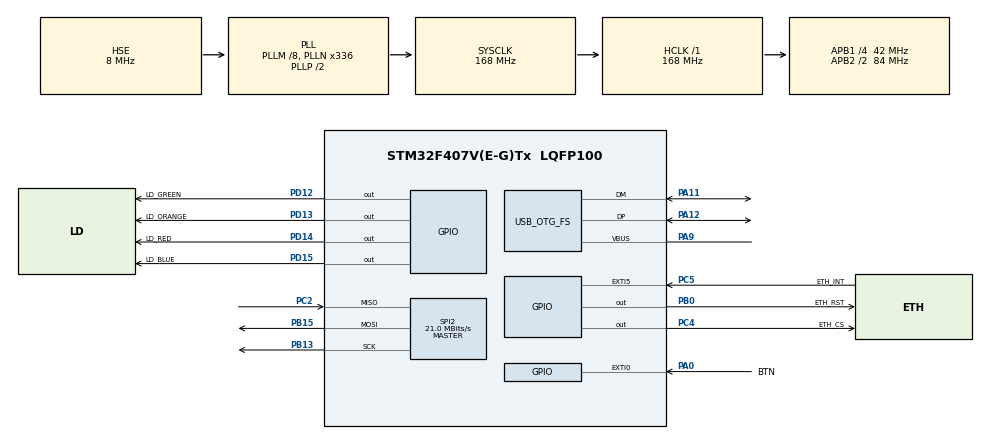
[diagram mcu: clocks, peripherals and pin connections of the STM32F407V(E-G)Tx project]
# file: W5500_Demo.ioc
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Dma.Request0=SPI2_RX
Dma.Request1=SPI2_TX
Dma.SPI2_RX.0.Direction=DMA_PERIPH_TO_MEMORY
Dma.SPI2_RX.0.FIFOMode=DMA_FIFOMODE_DISABLE
Dma.SPI2_RX.0.Instance=DMA1_Stream3
Dma.SPI2_RX.0.MemDataAlignment=DMA_MDATAALIGN_BYTE
Dma.SPI2_RX.0.MemInc=DMA_MINC_ENABLE
Dma.SPI2_RX.0.Mode=DMA_NORMAL
Dma.SPI2_RX.0.PeriphDataAlignment=DMA_PDATAALIGN_BYTE
Dma.SPI2_RX.0.PeriphInc=DMA_PINC_DISABLE
Dma.SPI2_RX.0.Priority=DMA_PRIORITY_LOW
Dma.SPI2_TX.1.Direction=DMA_MEMORY_TO_PERIPH
Dma.SPI2_TX.1.FIFOMode=DMA_FIFOMODE_DISABLE
Dma.SPI2_TX.1.Instance=DMA1_Stream4
Dma.SPI2_TX.1.MemDataAlignment=DMA_MDATAALIGN_BYTE
Dma.SPI2_TX.1.MemInc=DMA_MINC_ENABLE
Dma.SPI2_TX.1.Mode=DMA_NORMAL
Dma.SPI2_TX.1.PeriphDataAlignment=DMA_PDATAALIGN_BYTE
Dma.SPI2_TX.1.PeriphInc=DMA_PINC_DISABLE
Dma.SPI2_TX.1.Priority=DMA_PRIORITY_LOW
Mcu.Family=STM32F4
Mcu.Name=STM32F407V(E-G)Tx
Mcu.Package=LQFP100
NVIC.DMA1_Stream3_IRQn=true\:0\:0\:false\:false\:true\:false\:true\:true
NVIC.DMA1_Stream4_IRQn=true\:0\:0\:false\:false\:true\:false\:true\:true
NVIC.EXTI9_5_IRQn=true\:0\:1\:false\:false\:true\:true\:true\:true
NVIC.OTG_FS_IRQn=true\:0\:0\:false\:false\:true\:false\:true\:true
NVIC.PriorityGroup=NVIC_PRIORITYGROUP_0
NVIC.SPI2_IRQn=true\:0\:0\:false\:false\:true\:true\:true\:true
PA0-WKUP.GPIO_Label=BTN
PA0-WKUP.GPIO_ModeDefaultEXTI=GPIO_MODE_EVT_RISING
PA0-WKUP.GPIO_PuPd=GPIO_NOPULL
PA0-WKUP.Signal=GPXTI0
PA11.Mode=Device_Only
PA11.Signal=USB_OTG_FS_DM
PA12.Mode=Device_Only
PA12.Signal=USB_OTG_FS_DP
PA9.Mode=Activate_VBUS
PA9.Signal=USB_OTG_FS_VBUS
PB0.GPIO_Label=ETH_RST
PB0.Signal=GPIO_Output
PB13.Mode=Full_Duplex_Master
PB13.Signal=SPI2_SCK
PB15.Mode=Full_Duplex_Master
PB15.Signal=SPI2_MOSI
PC2.Mode=Full_Duplex_Master
PC2.Signal=SPI2_MISO
PC4.GPIO_Label=ETH_CS
PC4.PinState=GPIO_PIN_SET
PC4.Signal=GPIO_Output
PC5.GPIO_Label=ETH_INT
PC5.GPIO_ModeDefaultEXTI=GPIO_MODE_IT_FALLING
PC5.Signal=GPXTI5
PD12.GPIO_Label=LD_GREEN
PD12.GPIO_PuPd=GPIO_NOPULL
PD12.GPIO_Speed=GPIO_SPEED_FREQ_LOW
PD12.Signal=GPIO_Output
PD13.GPIO_Label=LD_ORANGE
PD13.GPIO_PuPd=GPIO_NOPULL
PD13.GPIO_Speed=GPIO_SPEED_FREQ_LOW
PD13.Signal=GPIO_Output
PD14.GPIO_Label=LD_RED
PD14.GPIO_PuPd=GPIO_NOPULL
PD14.GPIO_Speed=GPIO_SPEED_FREQ_LOW
PD14.Signal=GPIO_Output
PD15.GPIO_Label=LD_BLUE
PD15.GPIO_PuPd=GPIO_NOPULL
PD15.GPIO_Speed=GPIO_SPEED_FREQ_LOW
PD15.Signal=GPIO_Output
PH0-OSC_IN.GPIO_Label=PH0-OSC_IN
PH0-OSC_IN.Mode=HSE-External-Oscillator
PH0-OSC_IN.Signal=RCC_OSC_IN
PH1-OSC_OUT.GPIO_Label=PH1-OSC_OUT
PH1-OSC_OUT.Mode=HSE-External-Oscillator
PH1-OSC_OUT.Signal=RCC_OSC_OUT
ProjectManager.HeapSize=0x200
ProjectManager.StackSize=0x400
ProjectManager.TargetToolchain=STM32CubeIDE
RCC.48MHZClocksFreq_Value=48000000
RCC.AHBFreq_Value=168000000
RCC.APB1CLKDivider=RCC_HCLK_DIV4
RCC.APB1Freq_Value=42000000
RCC.APB1TimFreq_Value=84000000
RCC.APB2CLKDivider=RCC_HCLK_DIV2
RCC.APB2Freq_Value=84000000
RCC.APB2TimFreq_Value=168000000
RCC.CortexFreq_Value=168000000
RCC.HCLKFreq_Value=168000000
RCC.HSE_VALUE=8000000
RCC.HSI_VALUE=16000000
RCC.LSE_VALUE=32768
RCC.PLLM=8
RCC.PLLN=336
RCC.PLLQ=7
RCC.SYSCLKFreq_VALUE=168000000
RCC.SYSCLKSource=RCC_SYSCLKSOURCE_PLLCLK
RCC.VCOOutputFreq_Value=336000000
SPI2.BaudRatePrescaler=SPI_BAUDRATEPRESCALER_2
SPI2.CalculateBaudRate=21.0 MBits/s
SPI2.Direction=SPI_DIRECTION_2LINES
SPI2.Mode=SPI_MODE_MASTER
SPI2.VirtualType=VM_MASTER
USB_DEVICE.CLASS_NAME_FS=CDC
USB_DEVICE.VirtualMode-CDC_FS=Cdc
USB_DEVICE.VirtualModeFS=Cdc_FS
USB_OTG_FS.VirtualMode=Device_Only
VP_USB_DEVICE_VS_USB_DEVICE_CDC_FS.Mode=CDC_FS
board=STM32F407G-DISC1

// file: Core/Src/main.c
/* USER CODE BEGIN Header */
/**
 ******************************************************************************
 * @file           : main.c
 * @brief          : Main program body
 ******************************************************************************
 * @attention
 *
 * Copyright (c) 2024 STMicroelectronics.
 * All rights reserved.
 *
 * This software is licensed under terms that can be found in the LICENSE file
 * in the root directory of this software component.
 * If no LICENSE file comes with this software, it is provided AS-IS.
 *
 ******************************************************************************
 */
/* USER CODE END Header */
#include "main.h"
#include "usb_device.h"

/* USER CODE BEGIN Includes */
#include "usbd_cdc_if.h"
#include "socket.h"
#include "w5500.h"
#include "wizchip_conf.h"
#include "loopback.h"
#include "ton.h"
#include "soft_timer.h"
#include "socket_utils.h"
#include "string.h"
#include "retarget.h"
#include "steady_clock.h"
#include "macro.h"
#include "edge_detection.h"

#include "../../Drivers/Internet/inc/dhcp.h"
#include "../../Drivers/Internet/inc/dns.h"
/* USER CODE END Includes */

/* USER CODE BEGIN PTD */

enum
{
   TON_0_DURATION = 1000,
   TON_1_DURATION = 1000,
};

enum
{
   TON_0 = 0,
   TON_1,
   TON_END,
};

enum
{
   ED_0 = 0,
   ED_1,
   ED_2,
   ED_3,
   ED_END,
};

enum
{
   TIMER_0_DURATION = 50,
};

enum
{
   TIMER_0 = 0,
   TIMER_END,
};

/* USER CODE END PTD */

SPI_HandleTypeDef hspi2;
DMA_HandleTypeDef hdma_spi2_rx;
DMA_HandleTypeDef hdma_spi2_tx;

/* USER CODE BEGIN PV */

typedef struct
{
   wiz_NetInfo net_info;
   uint16_t port;
   uint16_t destport;
   uint8_t sn;
   uint8_t destip[4];
   uint8_t dhcp_buf[1024];
   uint8_t dns_buf[1024];
   uint8_t domain_ip[4];
} app_data_t;

typedef enum
{
   SOCKET_INFO = 0,
   SOCKET_DHCP_ONGOING,
   SOCKET_CLOSED,
   SOCKET_INIT,
   SOCKET_WAIT_CONNECTED,
   SOCKET_CONNECTED,
   SOCKET_TIMEOUT,
   SOCKET_TIMEOUT_CON,
   SOCKET_TIMEOUT_DISCON,
}socket_op_t;

typedef struct
{
   uint32_t socket_cannot_open: 1;
   uint32_t socket_opened: 1;
   uint32_t socket_cannot_connect: 1;
   uint32_t socket_connected: 1;
}eth_handler_info_t;

app_data_t app_net_data =
{
  .net_info =
  {
      .mac = {0x00, 0x08, 0xdc, 0xab, 0xcd, 0xef},// Mac address
      .ip = {192, 168, 1, 99},// IP address
      .sn = {255, 255, 255, 0},// Subnet mask
      .gw = {192, 168, 1, 1},// Gateway address
      .dhcp = NETINFO_DHCP,
   },
   .port = 8080,
   .sn = 0,
   .destport = 50000,
   .destip = {192, 168, 1, 43},
};

eth_handler_info_t eth_handler_info;
socket_op_t op = 0;
int8_t sockret = 0;
int8_t connectret = 0;

static soft_timer_t timer_obj[TIMER_END];
static ton_t ton_obj[TON_END];
static edge_detection_t ed_obj[ED_END];

volatile static uint8_t spi_rx_done;
volatile static uint8_t spi_tx_done;
/* USER CODE END PV */

void SystemClock_Config(void);
static void MX_GPIO_Init(void);
static void MX_DMA_Init(void);
static void MX_SPI2_Init(void);
/* USER CODE BEGIN PFP */
static void printInfo(void);

static void doSendOk(uint8_t sn, uint16_t len);
static void doTimeout(uint8_t sn, uint8_t discon);
static void doRecv(uint8_t sn, uint16_t len);
static void doDiscon(uint8_t sn);
static void doCon(uint8_t sn);
static void doEthfault(uint8_t sn);
static void doLinkOff(void);
static void doConflict(void);
static void doUnreach(void);

static uint8_t DHCP_Perform(void);
static void DNS_Perform(void);

static void periodicTimer(void);

static void cs_sel(void);
static void cs_desel(void);
static void spi_rb_burst(uint8_t *rbuf, uint16_t len);
static void spi_wb_burst(uint8_t *tbuf, uint16_t len);
static void spi_rb_burst_dma(uint8_t *rbuf, uint16_t len);
static void spi_wb_burst_dma(uint8_t *tbuf, uint16_t len);

static void ethHandler(void);
static void ethHandlerInfo(void);

uint8_t buf[16384] =
{0};
uint8_t cmd[15] ={0};
uint32_t first,second,result;
/* USER CODE END PFP */

int main(void)
{

   /* MCU Configuration--------------------------------------------------------*/

   /* Reset of all peripherals, Initializes the Flash interface and the Systick. */
   HAL_Init();

   /* Configure the system clock */
   SystemClock_Config();

   /* Initialize all configured peripherals */
   MX_GPIO_Init();
   MX_DMA_Init();
   MX_SPI2_Init();
   MX_USB_DEVICE_Init();
   /* USER CODE BEGIN 2 */

// RESET HIGH(active low 500 us)
   HAL_GPIO_WritePin(ETH_RST_GPIO_Port, ETH_RST_Pin, GPIO_PIN_RESET);
   HAL_Delay(10);
   HAL_GPIO_WritePin(ETH_RST_GPIO_Port, ETH_RST_Pin, GPIO_PIN_SET);
   HAL_Delay(10);
   reg_wizchip_cs_cbfunc(cs_sel, cs_desel);
   reg_wizchip_spiburst_cbfunc(spi_rb_burst_dma, spi_wb_burst_dma);

// ethInitDefault ilk çağrılmalı
   ethInitDefault(&app_net_data.net_info);
   setEthIntCallbacks(doConflict, doUnreach, NULL, NULL);
   setSockIntCallbacks(app_net_data.sn, doSendOk, doTimeout, doRecv, doDiscon, doCon);
   setSockIntErrCallbacks(app_net_data.sn, doEthfault);
   setEthIntErrCallbacks(doLinkOff);
   reg_dhcp_cbfunc(NULL, NULL, NULL);

   DHCP_init(app_net_data.sn, app_net_data.dhcp_buf);

   timerSet(&timer_obj[TIMER_0], TIMER_0_DURATION, periodicTimer);

   while (!scan("%s", cmd));
   print("%s\n", cmd);
   CLEAR_STRUCT(cmd);

   print("CHIP-VERSION: %d\n"
         "INTLEVEL: %d\n"
         "IMR: %X\n"
         "SIMR: %X\n"
         "RTR: %d\n"
         "RCR: %d\n"
         "Sn_IMR: %X\n"
         "TX Buffer: %d kb\n"
         "RX Buffer: %d kb\n"
         "Link Status: %s\n", getVERSIONR(), getINTLEVEL(), getIMR(), getSIMR(), getRTR(), getRCR(), getSn_IMR(0), getSn_TXBUF_SIZE(0),
         getSn_RXBUF_SIZE(0),
         getPHYCFGR() & PHYCFGR_LNK_ON ? "ON" : "OFF");

   timerStart(&timer_obj[TIMER_0]);

   steadyClockEnable();
   //print("\n=====DHCP-DNS Demo=====\n");
   //printInfo();
   //DHCP_Perform();
   //DNS_Perform();
   //printInfo();

//   print("Google ip:  %d.%d.%d.%d\r\n",
//         app_net_data.domain_ip[0],
//         app_net_data.domain_ip[1],
//         app_net_data.domain_ip[2],
//         app_net_data.domain_ip[3]);

   /* USER CODE END 2 */

   /* Infinite loop */
   /* USER CODE BEGIN WHILE */

   while (1)
   {
      sockDataHandler(app_net_data.sn);
      ethHandler();
      ethHandlerInfo();
      timerCheck(&timer_obj[TIMER_0], HAL_GetTick());

//
//      if(*cmd)
//         CLEAR_STRUCT(cmd);
//
//      getline((char*)cmd);
//
//      if(!strcmp("socket", (char*)cmd))
//      {
//         first = getusec();
//         int8_t sockret;
//         if((sockret = socket(app_net_data.sn, Sn_MR_TCP, app_net_data.port, 0x00)) != app_net_data.sn)
//         {
//            print("socket %d cannot open\r\n"
//                  "sockret: %d\n", app_net_data.sn, sockret);
//         }
//         second = getusec();
//         print("socket duration: %d\n",second - first);
//         enableKeepAliveAuto(app_net_data.sn, 2);
//         print("Socket %d opened\r\n", app_net_data.sn);
//
//      }
//      else if(!strcmp("listen", (char*)cmd))
//      {
//         first = getusec();
//         if(listen(app_net_data.sn) != SOCK_OK)
//         {
//            print("socket %d cannot listen\n", app_net_data.sn);
//         }
//         second = getusec();
//         print("listen duration: %d\n",second - first);
//         print("Listen: Socket [%d], Port [%d]\r\n", app_net_data.sn, app_net_data.port);
//      }
//      else if(!strcmp("connect", (char*)cmd))
//      {
//         print("Socket %d try to connect to the %d.%d.%d.%d : %d\n", app_net_data.sn, app_net_data.destip[0], app_net_data.destip[1],
//               app_net_data.destip[2], app_net_data.destip[3], app_net_data.destport);
//
//         int8_t ret = 0;
//         first = getusec();
//         if((ret = connect(app_net_data.sn, app_net_data.destip, app_net_data.destport)) != SOCK_OK)
//            print("connection failed: %d\n", ret);
//         second = getusec();
//         print("connect duration: %d\n", second - first);
//      }
//      else if(!strcmp("disconnect", (char*)cmd))
//      {
//         first = getusec();
//         if(disconnect(app_net_data.sn) != SOCK_OK)
//         {
//            print("cannot disconnect properly!\n");
//         }
//         second = getusec();
//         print("disconnect duration: %d\n", second - first);
//      }
//      else if(!strcmp("send", (char*)cmd))
//      {
//         first = getusec();
//         if(send(0, (uint8_t*)"bir yazi\n", 9) < 0)
//         {
//            print("cannot send!\n");
//         }
//         second = getusec();
//         print("send duration: %d\n", second - first);
//      }
//      else if(!strcmp("16k", (char*)cmd))
//      {
//         send(0, (uint8_t*)"16k", 3);
//      }
//      else if(!strcmp("close", (char*)cmd))
//      {
//         send(0, (uint8_t*)"close", 5);
//      }

      /* USER CODE END WHILE */

   }
}

static void ethHandler(void)
{
   static uint8_t i = 0;
   enum{RETRY = 5};

   switch (op)
   {
   case SOCKET_INFO:
      if(!isClosed(app_net_data.sn))
         close(app_net_data.sn);

      eth_handler_info.socket_opened = 0;
      eth_handler_info.socket_cannot_open = 0;
      eth_handler_info.socket_cannot_connect = 0;
      eth_handler_info.socket_connected = 0;

      print("CHIP-VERSION: %d\n"
               "INTLEVEL: %d\n"
               "IMR: %X\n"
               "SIMR: %X\n"
               "RTR: %d\n"
               "RCR: %d\n"
               "Sn_IMR: %X\n"
               "TX Buffer: %d kb\n"
               "RX Buffer: %d kb\n"
               "Link Status: %s\n\n",
               getVERSIONR(),
               getINTLEVEL(),
               getIMR(),
               getSIMR(),
               getRTR(),
               getRCR(),
               getSn_IMR(0),
               getSn_TXBUF_SIZE(0),
               getSn_RXBUF_SIZE(0),
               getPHYCFGR() & PHYCFGR_LNK_ON ? "ON" : "OFF");

      if(getVERSIONR() == 4)
         op = SOCKET_DHCP_ONGOING;

      i = 0;
      break;

   case SOCKET_DHCP_ONGOING:
      if(DHCP_Perform())
         op = SOCKET_CLOSED;
      break;

      case SOCKET_CLOSED:

         if(TON(&ton_obj[TON_0], 1, HAL_GetTick(), TON_0_DURATION))
         {
            TON(&ton_obj[TON_0], 0, 0, 0);

            if((sockret = socket(app_net_data.sn, Sn_MR_TCP, app_net_data.port, 0x00)) != app_net_data.sn)
            {
               if(sockret == SOCKERR_SOCKSTATUS)
                  close(app_net_data.sn);

               eth_handler_info.socket_cannot_open = 1;
               eth_handler_info.socket_opened = 0;
            }
            else
            {
               op = SOCKET_INIT;
               printInfo();
               i = 0;
            }

            if(++i == RETRY)
            {
               op = SOCKET_INFO;
               i = 0;
            }
         }
         break;

      case SOCKET_INIT:
         eth_handler_info.socket_cannot_open = 0;
         eth_handler_info.socket_opened = 1;

         if(TON(&ton_obj[TON_1], 1, HAL_GetTick(), TON_1_DURATION))
         {
            TON(&ton_obj[TON_1], 0, 0, 0);

            if((connectret = connect(app_net_data.sn, app_net_data.destip, app_net_data.destport)) != SOCK_OK)
            {
               eth_handler_info.socket_cannot_connect = 1;
               eth_handler_info.socket_connected = 0;
            }
            else
            {
               // Eğer server dinlemiyorsa otomatik disconnect olur.
               // ve doDiscon çalışır.
               op = SOCKET_WAIT_CONNECTED;
               i = 0;
            }
            if(++i == RETRY)
            {
               op = SOCKET_INFO;
               i = 0;
            }
         }

         break;

      case SOCKET_WAIT_CONNECTED:
         eth_handler_info.socket_cannot_connect = 0;
         eth_handler_info.socket_connected = 1;
         break;

      case SOCKET_CONNECTED:
         // veri aktarımına hazır

         break;

         case SOCKET_TIMEOUT:
            op = SOCKET_INFO;
            break;

         case SOCKET_TIMEOUT_CON:
            op = SOCKET_INFO;
            break;

         case SOCKET_TIMEOUT_DISCON:
            op = SOCKET_INFO;
            break;

      default:
         break;
   }
}

void ethHandlerInfo(void)
{
   if(edgeDetection(&ed_obj[ED_0], eth_handler_info.socket_cannot_open))
   {
      print("socket %d cannot open\r\n"
            "sockret: %d\r\n", app_net_data.sn, sockret);
   }
   if(edgeDetection(&ed_obj[ED_1], eth_handler_info.socket_opened))
   {
      print("socket %d opened\r\n", app_net_data.sn );
   }
   if(edgeDetection(&ed_obj[ED_2], eth_handler_info.socket_cannot_connect))
   {
      print("socket %d, connect function cannot execute!\n"
            "connectret: %d\r\n", app_net_data.sn, connectret);
   }
   if(edgeDetection(&ed_obj[ED_3], eth_handler_info.socket_connected))
   {
      print("socket %d, connect executed\n", app_net_data.sn);
   }
}
void SystemClock_Config(void)
{
   RCC_OscInitTypeDef RCC_OscInitStruct =
   {0};
   RCC_ClkInitTypeDef RCC_ClkInitStruct =
   {0};

   /** Configure the main internal regulator output voltage
    */
   __HAL_RCC_PWR_CLK_ENABLE();
   __HAL_PWR_VOLTAGESCALING_CONFIG(PWR_REGULATOR_VOLTAGE_SCALE1);

   /** Initializes the RCC Oscillators according to the specified parameters
    * in the RCC_OscInitTypeDef structure.
    */
   RCC_OscInitStruct.OscillatorType = RCC_OSCILLATORTYPE_HSE;
   RCC_OscInitStruct.HSEState = RCC_HSE_ON;
   RCC_OscInitStruct.PLL.PLLState = RCC_PLL_ON;
   RCC_OscInitStruct.PLL.PLLSource = RCC_PLLSOURCE_HSE;
   RCC_OscInitStruct.PLL.PLLM = 8;
   RCC_OscInitStruct.PLL.PLLN = 336;
   RCC_OscInitStruct.PLL.PLLP = RCC_PLLP_DIV2;
   RCC_OscInitStruct.PLL.PLLQ = 7;
   if(HAL_RCC_OscConfig(&RCC_OscInitStruct) != HAL_OK)
   {
      Error_Handler();
   }

   /** Initializes the CPU, AHB and APB buses clocks
    */
   RCC_ClkInitStruct.ClockType = RCC_CLOCKTYPE_HCLK | RCC_CLOCKTYPE_SYSCLK | RCC_CLOCKTYPE_PCLK1 | RCC_CLOCKTYPE_PCLK2;
   RCC_ClkInitStruct.SYSCLKSource = RCC_SYSCLKSOURCE_PLLCLK;
   RCC_ClkInitStruct.AHBCLKDivider = RCC_SYSCLK_DIV1;
   RCC_ClkInitStruct.APB1CLKDivider = RCC_HCLK_DIV4;
   RCC_ClkInitStruct.APB2CLKDivider = RCC_HCLK_DIV2;

   if(HAL_RCC_ClockConfig(&RCC_ClkInitStruct, FLASH_LATENCY_5) != HAL_OK)
   {
      Error_Handler();
   }
}

static void MX_SPI2_Init(void)
{

   /* SPI2 parameter configuration*/
   hspi2.Instance = SPI2;
   hspi2.Init.Mode = SPI_MODE_MASTER;
   hspi2.Init.Direction = SPI_DIRECTION_2LINES;
   hspi2.Init.DataSize = SPI_DATASIZE_8BIT;
   hspi2.Init.CLKPolarity = SPI_POLARITY_LOW;
   hspi2.Init.CLKPhase = SPI_PHASE_1EDGE;
   hspi2.Init.NSS = SPI_NSS_SOFT;
   hspi2.Init.BaudRatePrescaler = SPI_BAUDRATEPRESCALER_16;
   hspi2.Init.FirstBit = SPI_FIRSTBIT_MSB;
   hspi2.Init.TIMode = SPI_TIMODE_DISABLE;
   hspi2.Init.CRCCalculation = SPI_CRCCALCULATION_DISABLE;
   hspi2.Init.CRCPolynomial = 10;
   if(HAL_SPI_Init(&hspi2) != HAL_OK)
   {
      Error_Handler();
   }

}

static void MX_DMA_Init(void)
{

   /* DMA controller clock enable */
   __HAL_RCC_DMA1_CLK_ENABLE();

   /* DMA interrupt init */
   /* DMA1_Stream3_IRQn interrupt configuration */
   HAL_NVIC_SetPriority(DMA1_Stream3_IRQn, 0, 0);
   HAL_NVIC_EnableIRQ(DMA1_Stream3_IRQn);
   /* DMA1_Stream4_IRQn interrupt configuration */
   HAL_NVIC_SetPriority(DMA1_Stream4_IRQn, 0, 0);
   HAL_NVIC_EnableIRQ(DMA1_Stream4_IRQn);

}

static void MX_GPIO_Init(void)
{
   GPIO_InitTypeDef GPIO_InitStruct =
   {0};

   /* GPIO Ports Clock Enable */
   __HAL_RCC_GPIOH_CLK_ENABLE();
   __HAL_RCC_GPIOC_CLK_ENABLE();
   __HAL_RCC_GPIOA_CLK_ENABLE();
   __HAL_RCC_GPIOB_CLK_ENABLE();
   __HAL_RCC_GPIOD_CLK_ENABLE();

   /*Configure GPIO pin Output Level */
   HAL_GPIO_WritePin(ETH_CS_GPIO_Port, ETH_CS_Pin, GPIO_PIN_SET);

   /*Configure GPIO pin Output Level */
   HAL_GPIO_WritePin(ETH_RST_GPIO_Port, ETH_RST_Pin, GPIO_PIN_RESET);

   /*Configure GPIO pin Output Level */
   HAL_GPIO_WritePin(GPIOD,
   LD_GREEN_Pin | LD_ORANGE_Pin | LD_RED_Pin | LD_BLUE_Pin, GPIO_PIN_RESET);

   /*Configure GPIO pin : BTN_Pin */
   GPIO_InitStruct.Pin = BTN_Pin;
   GPIO_InitStruct.Mode = GPIO_MODE_EVT_RISING;
   GPIO_InitStruct.Pull = GPIO_NOPULL;
   HAL_GPIO_Init(BTN_GPIO_Port, &GPIO_InitStruct);

   /*Configure GPIO pin : ETH_CS_Pin */
   GPIO_InitStruct.Pin = ETH_CS_Pin;
   GPIO_InitStruct.Mode = GPIO_MODE_OUTPUT_PP;
   GPIO_InitStruct.Pull = GPIO_NOPULL;
   GPIO_InitStruct.Speed = GPIO_SPEED_FREQ_LOW;
   HAL_GPIO_Init(ETH_CS_GPIO_Port, &GPIO_InitStruct);

   /*Configure GPIO pin : ETH_INT_Pin */
   GPIO_InitStruct.Pin = ETH_INT_Pin;
   GPIO_InitStruct.Mode = GPIO_MODE_IT_FALLING;
   GPIO_InitStruct.Pull = GPIO_NOPULL;
   HAL_GPIO_Init(ETH_INT_GPIO_Port, &GPIO_InitStruct);

   /*Configure GPIO pin : ETH_RST_Pin */
   GPIO_InitStruct.Pin = ETH_RST_Pin;
   GPIO_InitStruct.Mode = GPIO_MODE_OUTPUT_PP;
   GPIO_InitStruct.Pull = GPIO_NOPULL;
   GPIO_InitStruct.Speed = GPIO_SPEED_FREQ_LOW;
   HAL_GPIO_Init(ETH_RST_GPIO_Port, &GPIO_InitStruct);

   /*Configure GPIO pins : LD_GREEN_Pin LD_ORANGE_Pin LD_RED_Pin LD_BLUE_Pin */
   GPIO_InitStruct.Pin =
   LD_GREEN_Pin | LD_ORANGE_Pin | LD_RED_Pin | LD_BLUE_Pin;
   GPIO_InitStruct.Mode = GPIO_MODE_OUTPUT_PP;
   GPIO_InitStruct.Pull = GPIO_NOPULL;
   GPIO_InitStruct.Speed = GPIO_SPEED_FREQ_LOW;
   HAL_GPIO_Init(GPIOD, &GPIO_InitStruct);

   /* EXTI interrupt init*/
   HAL_NVIC_SetPriority(EXTI9_5_IRQn, 0, 1);
   HAL_NVIC_EnableIRQ(EXTI9_5_IRQn);

}

/* USER CODE BEGIN 4 */

void printInfo(void)
{
   print("---------------------\n");
   print("Network configuration:\r\n");
   print("IP ADDRESS:  %d.%d.%d.%d\r\n", app_net_data.net_info.ip[0], app_net_data.net_info.ip[1], app_net_data.net_info.ip[2],
         app_net_data.net_info.ip[3]);
   print("NETMASK:     %d.%d.%d.%d\r\n", app_net_data.net_info.sn[0], app_net_data.net_info.sn[1], app_net_data.net_info.sn[2],
         app_net_data.net_info.sn[3]);
   print("GATEWAY:     %d.%d.%d.%d\r\n", app_net_data.net_info.gw[0], app_net_data.net_info.gw[1], app_net_data.net_info.gw[2],
         app_net_data.net_info.gw[3]);
   print("DNS ADDRESS: %d.%d.%d.%d\r\n", app_net_data.net_info.dns[0], app_net_data.net_info.dns[1], app_net_data.net_info.dns[2],
            app_net_data.net_info.dns[3]);
   print("MAC ADDRESS: %x:%x:%x:%x:%x:%x\r\n", app_net_data.net_info.mac[0], app_net_data.net_info.mac[1], app_net_data.net_info.mac[2],
         app_net_data.net_info.mac[3], app_net_data.net_info.mac[4], app_net_data.net_info.mac[5]);
   print("---------------------\n");
}

static void doSendOk(uint8_t sn, uint16_t len)
{
   print("------------------\n"
         "Socket: %d\n"
         "%d bytes data sent\n"
         "------------------\n", sn, len);
}

static void doTimeout(uint8_t sn, uint8_t discon)
{
   char info[30];
   switch(discon)
   {
   case 0:
      strcpy(info, "timeout");
      op = SOCKET_TIMEOUT;
   break;
   case 1:
      strcpy(info, "timeout by disconnect");
      op = SOCKET_TIMEOUT_DISCON;
   break;
   case 2:
      strcpy(info, "timeout by connect to host");
      op = SOCKET_TIMEOUT_CON;
   break;
   }
   print("%s\n", info);

}

static void doRecv(uint8_t sn, uint16_t len)
{
   int32_t ret;

   ret = recv(sn, buf, len);
   print("------------------\n"
         "received size: %d\n"
         "ret: %d\n"
         "------------------\n", len, ret);
   //print("Send return: %d\n", send(sn, buf, len));
   send(sn, buf, len);
}

static void doDiscon(uint8_t sn)
{
   op = SOCKET_INFO;
   print("Socket %d disconnected\n", sn);
}

static void doCon(uint8_t sn)
{
   getSn_DIPR(sn, app_net_data.destip);// client ip adresini al
   app_net_data.destport = getSn_DPORT(sn);
   print("Socket %d:Connected - %d.%d.%d.%d : %d\r\n", sn, app_net_data.destip[0], app_net_data.destip[1], app_net_data.destip[2],
         app_net_data.destip[3], app_net_data.destport);

   op = SOCKET_CONNECTED;

}

static void doEthfault(uint8_t sn)
{
   print("Ethfault!\n");
}

static void doLinkOff(void)
{
   print("check the eth cable or MOSI-MISO!\n");
}

static void doConflict(void)
{
   print("conflict!\n");
}

static void doUnreach(void)
{
   print("unreach!\n");
}

static uint8_t DHCP_Perform(void)
{
   uint8_t dhcpret;
   if((dhcpret = DHCP_run()) == DHCP_RUNNING)
      return 0;

   if(dhcpret == DHCP_IP_LEASED)
   {
      print("DHCP Successful\n");
   }
   else if(dhcpret == DHCP_FAILED)
   {
      // ayrıca failed timeout sonucu da oluşur(5 sn ayarladım)
      print("DHCP Failed!\n");
   }

   // at this point, socket is in UDP mode and opened, it has been closed
   if(close(app_net_data.sn) != SOCK_OK)
      print("socket cannot close!\n");

   // load the net info
   getIPfromDHCP(app_net_data.net_info.ip);
   getGWfromDHCP(app_net_data.net_info.gw);
   getSNfromDHCP(app_net_data.net_info.sn);
   getDNSfromDHCP(app_net_data.net_info.dns);

   return 1;
}

static void DNS_Perform(void)
{
   print("DNS START\n");
   DNS_init(app_net_data.sn, app_net_data.dns_buf);
   if (!DNS_run(app_net_data.net_info.dns, (uint8_t*)"www.google.com", app_net_data.domain_ip))
   {
      print("DNS unsuccessful!\n");
      return;
   }
   print("DNS successful\n");
}

static void periodicTimer(void)
{
   ethObserver(app_net_data.sn);
}

void cs_sel(void)
{
   HAL_GPIO_WritePin(ETH_CS_GPIO_Port, ETH_CS_Pin, GPIO_PIN_RESET);//CS LOW
}

void cs_desel(void)
{
   HAL_GPIO_WritePin(ETH_CS_GPIO_Port, ETH_CS_Pin, GPIO_PIN_SET);//CS HIGH
}

static void spi_rb_burst_dma(uint8_t *rbuf, uint16_t len)
{
   HAL_SPI_Receive_DMA(&hspi2, rbuf, len);
//HAL_DMA_PollForTransfer(&hdma_spi2_rx, HAL_DMA_FULL_TRANSFER, 5);
   while (!spi_rx_done);
   spi_rx_done = 0;
}

static void spi_wb_burst_dma(uint8_t *tbuf, uint16_t len)
{
   HAL_SPI_Transmit_DMA(&hspi2, tbuf, len);
//HAL_DMA_PollForTransfer(&hdma_spi2_tx, HAL_DMA_FULL_TRANSFER, 5);
   while (!spi_tx_done);
   spi_tx_done = 0;
}

static void spi_rb_burst(uint8_t *rbuf, uint16_t len)
{
   HAL_SPI_Receive(&hspi2, rbuf, len, 100);
}

static void spi_wb_burst(uint8_t *tbuf, uint16_t len)
{
   HAL_SPI_Transmit(&hspi2, tbuf, len, 100);
}

void HAL_SPI_TxCpltCallback(SPI_HandleTypeDef *hspi)
{
   spi_tx_done = 1;
}

void HAL_SPI_RxCpltCallback(SPI_HandleTypeDef *hspi)
{
   spi_rx_done = 1;
}
/* USER CODE END 4 */

void Error_Handler(void)
{
   __disable_irq();
   while (1)
   {
   }
}
